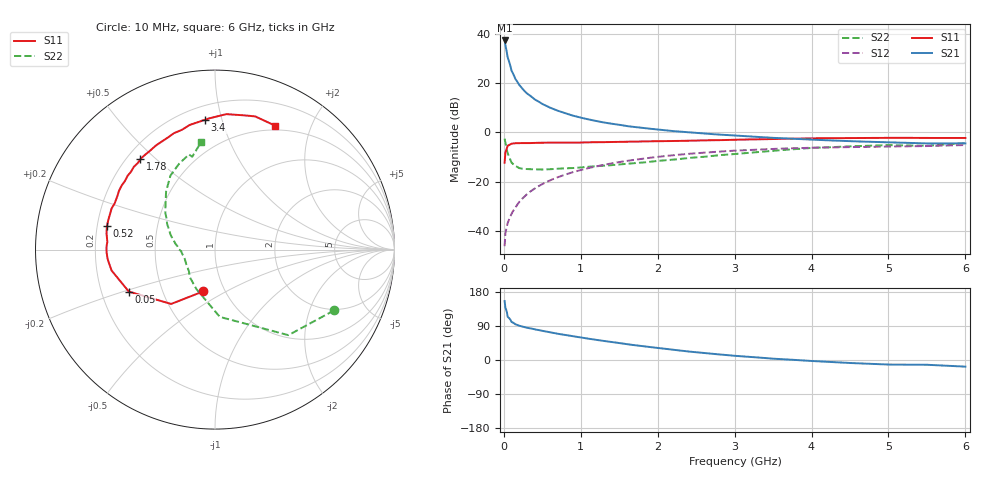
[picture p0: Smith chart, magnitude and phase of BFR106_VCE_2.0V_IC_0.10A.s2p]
! Infineon Technologies  Discrete & RF Semiconductors
! BFR106
! VCE =  2.0 V,  IC = 0.10 A
! Common Emitter S-Parameters:  Nov 2015
# GHz  S  MA  R  50
!  f  S11  S21  S12  S22
! GHz  MAG  ANG  MAG  ANG  MAG  ANG  MAG  ANG
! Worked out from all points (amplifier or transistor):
!   210 points, 10 MHz to 6 GHz, reference 50 ohm
!   highest |S21| = 37.3 dB at 10 MHz (marker M1)
!   |S21| within 3 dB of that: start of sweep to 27.99 MHz
!   unconditionally stable (mu >= 1): 119.5 MHz to end of sweep
!   at 185 MHz: K = 1.08, MAG = 22.7 dB, |S12| = -28.9 dB
!   at 1.52 GHz: K = 1.10, MAG = 5.6 dB, |S12| = -12.0 dB
!   at 6 GHz: K = 1.02, MAG = -0.6 dB, |S12| = -5.2 dB
!   S11 on the Smith chart (normalised r, x): 10 MHz: 0.79, -0.39; 50 MHz: 0.32, -0.21; 520 MHz: 0.24, +0.10; 1.78 GHz: 0.25, +0.45; 3.4 GHz: 0.29, +0.88; 6 GHz: 0.45, +1.50
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0.01  0.2421 -105.8  72.98 155.7  0.0049 71.3  0.7447 -27.1
0.02  0.3891 -128.9  59.4 138.3  0.0088 64.4  0.6279 -49.4
0.05  0.5341 -154.0  32.99 113.8  0.0145 58.5  0.376 -85.9
0.1  0.588 -168.6  17.83 100.4  0.0221 64.6  0.2429 -115.3
0.15  0.6008 -175.0  12.09 94.2  0.03 68.8  0.2089 -131.7
0.2  0.6043 -178.6  9.18 90.4  0.0386 71.3  0.1881 -140.8
0.24  0.6046 179.0  7.705 88.0  0.0451 72.2  0.1827 -147.3
0.26  0.604 177.9  7.101 86.9  0.0484 72.6  0.1812 -149.9
0.3  0.6012 176.0  6.152 85.1  0.0554 73.3  0.1796 -153.3
0.4  0.6111 171.5  4.671 80.9  0.0722 73.5  0.177 -160.9
0.52  0.6158 167.5  3.64 76.2  0.0923 72.7  0.1763 -166.2
0.7  0.6171 161.3  2.743 69.2  0.1224 70.5  0.1828 -171.3
0.88  0.6162 155.9  2.221 63.3  0.1525 67.8  0.1876 -176.5
1.02  0.6206 151.1  1.949 58.9  0.175 65.6  0.1947 -179.0
1.3  0.6309 142.8  1.582 50.1  0.219 60.8  0.2091 175.1
1.78  0.6526 129.6  1.241 37.2  0.2878 52.3  0.2415 165.6
2.02  0.6586 123.7  1.129 31.4  0.3199 48.0  0.2644 160.6
3.1  0.7118 99.7  0.839 9.7  0.4315 29.3  0.3737 137.5
3.4  0.7257 94.3  0.788 5.1  0.4544 24.7  0.4102 131.8
4.1  0.758 83.9  0.7 -3.6  0.4906 14.2  0.4886 119.1
5.1  0.7732 72.1  0.62 -12.1  0.5178 2.6  0.5462 105.0
6  0.7676 64.1  0.595 -17.5  0.5522 -6.2  0.6048 97.3
